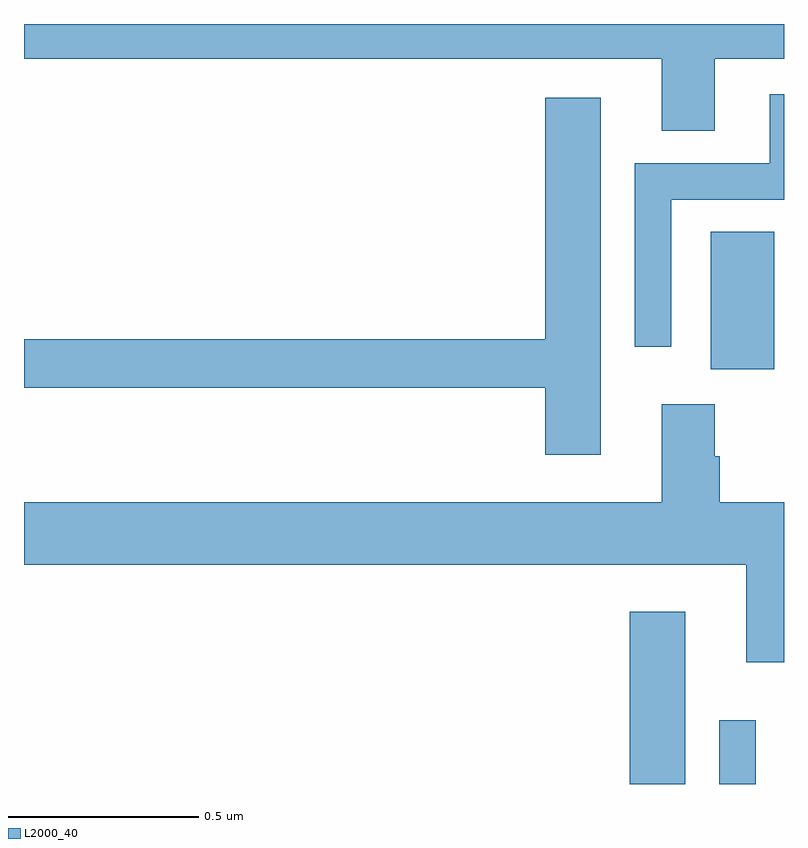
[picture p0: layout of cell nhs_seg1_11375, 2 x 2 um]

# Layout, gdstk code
import gdstk
lib = gdstk.Library(unit=1e-6, precision=1e-09)
def R(c, l, rs):  # rectangles x0, y0, x1, y1
    for r in rs: c.add(gdstk.rectangle(r[:2], r[2:], *l))
def P(c, l, *ps):  # polygons
    for p in ps: c.add(gdstk.Polygon(p, *l))
L2000_40 = (2000, 40)

nhs_seg1_11375 = lib.new_cell('nhs_seg1_11375')
R(nhs_seg1_11375, L2000_40, [(254.594,507.199,254.74,507.652), (254.829,507.199,254.925,507.367), (254.807,508.29,254.974,508.652)])
P(nhs_seg1_11375, L2000_40, [(254.818,509.108),(255,509.108),(255,509.199),(253,509.199),(253,509.108),(254.678,509.108),(254.678,508.918),(254.818,508.918)],
  [(254.703,508.737),(255,508.737),(255,509.014),(254.963,509.014),(254.963,508.833),(254.607,508.833),(254.607,508.35),(254.703,508.35)],
  [(254.518,509.005),(254.372,509.005),(254.372,508.37),(253,508.37),(253,508.242),(254.372,508.242),(254.372,508.065),(254.518,508.065)],
  [(255,507.94),(254.831,507.94),(254.831,508.061),(254.818,508.061),(254.818,508.198),(254.678,508.198),(254.678,507.94),(253,507.94),(253,507.776),(254.9,507.776),(254.9,507.519),(255,507.519)])

lib.write_gds('nhs_seg1_11375.gds')
